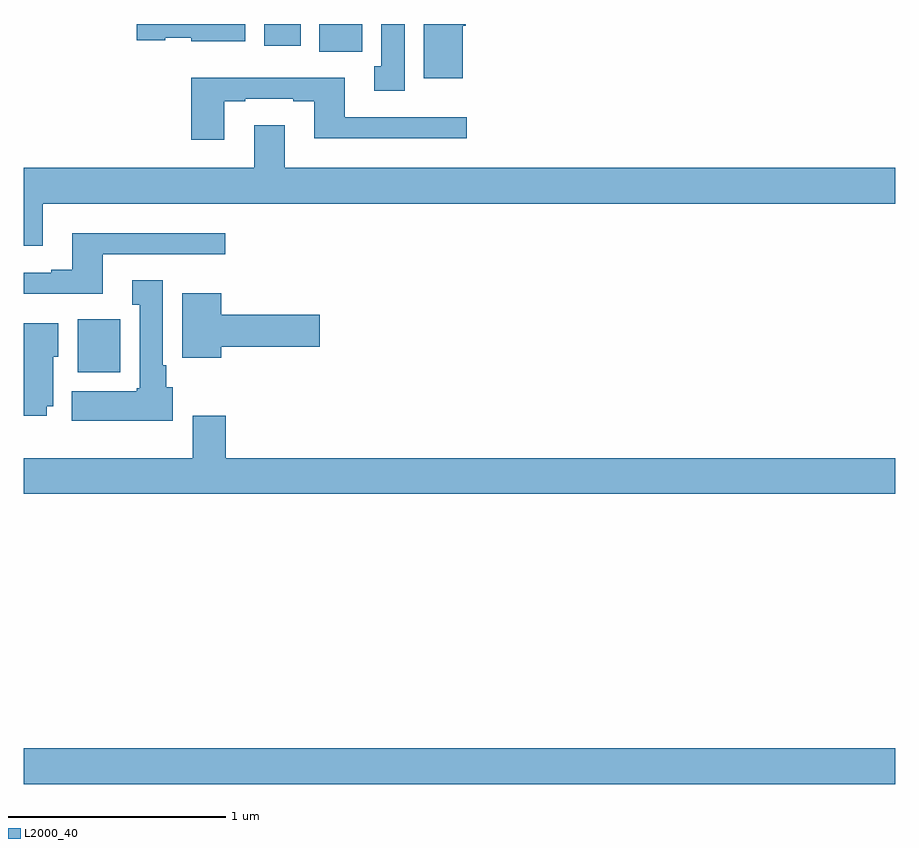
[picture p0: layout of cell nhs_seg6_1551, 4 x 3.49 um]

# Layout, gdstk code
import gdstk
lib = gdstk.Library(unit=1e-6, precision=1e-09)
def R(c, l, rs):  # rectangles x0, y0, x1, y1
    for r in rs: c.add(gdstk.rectangle(r[:2], r[2:], *l))
def P(c, l, *ps):  # polygons
    for p in ps: c.add(gdstk.Polygon(p, *l))
L2000_40 = (2000, 40)

nhs_seg6_1551 = lib.new_cell('nhs_seg6_1551')
R(nhs_seg6_1551, L2000_40, [(205,938.012,209,938.176), (205.247,939.902,205.444,940.144), (206.357,941.372,206.554,941.5), (206.105,941.4,206.272,941.5)])
P(nhs_seg6_1551, L2000_40, [(207.016,941.492),(207.029,941.492),(207.029,941.5),(206.837,941.5),(206.837,941.252),(207.016,941.252)],
  [(206.749,941.5),(206.642,941.5),(206.642,941.306),(206.609,941.306),(206.609,941.193),(206.749,941.193)],
  [(206.017,941.5),(205.518,941.5),(205.518,941.426),(205.65,941.426),(205.65,941.438),(205.77,941.438),(205.77,941.42),(206.017,941.42)],
  [(205.921,941.145),(206.017,941.145),(206.017,941.157),(206.237,941.157),(206.237,941.145),(206.333,941.145),(206.333,940.976),(207.034,940.976),(207.034,941.073),(206.473,941.073),(206.473,941.254),(205.769,941.254),(205.769,940.968),(205.921,940.968)],
  [(205.087,940.676),(209,940.676),(209,940.84),(206.197,940.84),(206.197,941.035),(206.057,941.035),(206.057,940.84),(205,940.84),(205,940.482),(205.087,940.482)],
  [(205.363,940.443),(205.924,940.443),(205.924,940.54),(205.223,940.54),(205.223,940.372),(205.127,940.372),(205.127,940.359),(205,940.359),(205,940.262),(205.363,940.262)],
  [(205.684,939.834),(205.654,939.834),(205.654,939.934),(205.639,939.934),(205.639,940.324),(205.499,940.324),(205.499,940.211),(205.532,940.211),(205.532,939.828),(205.519,939.828),(205.519,939.814),(205.22,939.814),(205.22,939.68),(205.684,939.68)],
  [(205.906,940.019),(206.359,940.019),(206.359,940.166),(205.906,940.166),(205.906,940.264),(205.727,940.264),(205.727,939.968),(205.906,939.968)],
  [(205.105,939.746),(205.135,939.746),(205.135,939.972),(205.159,939.972),(205.159,940.126),(205,940.126),(205,939.702),(205.105,939.702)],
  [(209,939.508),(205.928,939.508),(205.928,939.703),(205.775,939.703),(205.775,939.508),(205,939.508),(205,939.344),(209,939.344)])

lib.write_gds('nhs_seg6_1551.gds')
